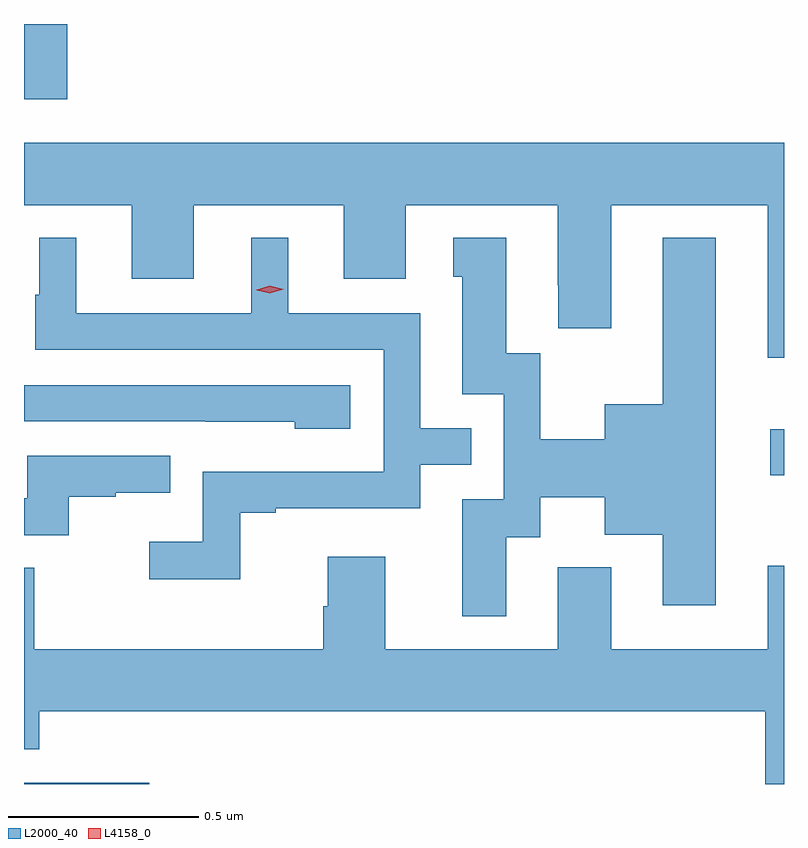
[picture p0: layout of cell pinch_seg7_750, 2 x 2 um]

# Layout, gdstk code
import gdstk
lib = gdstk.Library(unit=1e-6, precision=1e-09)
def R(c, l, rs):  # rectangles x0, y0, x1, y1
    for r in rs: c.add(gdstk.rectangle(r[:2], r[2:], *l))
def P(c, l, *ps):  # polygons
    for p in ps: c.add(gdstk.Polygon(p, *l))
L2000_40 = (2000, 40)
L4158_0 = (4158, 0)

pinch_seg7_750 = lib.new_cell('pinch_seg7_750')
R(pinch_seg7_750, L2000_40, [(316.33,1016.409,316.66,1016.412), (318.294,1017.221,318.33,1017.343), (316.33,1018.211,316.444,1018.409)])
P(pinch_seg7_750, L2000_40, [(318.33,1018.096),(316.33,1018.096),(316.33,1017.932),(316.613,1017.932),(316.613,1017.738),(316.777,1017.738),(316.777,1017.932),(317.171,1017.932),(317.171,1017.738),(317.335,1017.738),(317.335,1017.932),(317.735,1017.932),(317.735,1017.721),(317.736,1017.721),(317.736,1017.609),(317.875,1017.609),(317.875,1017.932),(318.287,1017.932),(318.287,1017.531),(318.33,1017.531)],
  [(317.599,1017.058),(317.689,1017.058),(317.689,1017.164),(317.858,1017.164),(317.858,1017.065),(318.011,1017.065),(318.011,1016.88),(318.151,1016.88),(318.151,1017.847),(318.011,1017.847),(318.011,1017.409),(317.858,1017.409),(317.858,1017.316),(317.688,1017.316),(317.688,1017.543),(317.599,1017.543),(317.599,1017.847),(317.459,1017.847),(317.459,1017.744),(317.483,1017.744),(317.483,1017.435),(317.592,1017.435),(317.592,1017.159),(317.483,1017.159),(317.483,1016.85),(317.599,1016.85)],
  [(316.899,1017.123),(316.993,1017.123),(316.993,1017.135),(317.373,1017.135),(317.373,1017.249),(317.507,1017.249),(317.507,1017.345),(317.373,1017.345),(317.373,1017.648),(317.026,1017.648),(317.026,1017.847),(316.928,1017.847),(316.928,1017.648),(316.468,1017.648),(316.468,1017.847),(316.37,1017.847),(316.37,1017.696),(316.359,1017.696),(316.359,1017.552),(317.277,1017.552),(317.277,1017.231),(316.8,1017.231),(316.8,1017.046),(316.659,1017.046),(316.659,1016.948),(316.899,1016.948)],
  [(317.188,1017.459),(316.33,1017.459),(316.33,1017.363),(316.807,1017.363),(316.807,1017.362),(317.043,1017.362),(317.043,1017.344),(317.188,1017.344)],
  [(316.448,1017.165),(316.571,1017.165),(316.571,1017.176),(316.715,1017.176),(316.715,1017.273),(316.338,1017.273),(316.338,1017.161),(316.33,1017.161),(316.33,1017.063),(316.448,1017.063)],
  [(318.33,1016.983),(318.287,1016.983),(318.287,1016.764),(317.875,1016.764),(317.875,1016.98),(317.735,1016.98),(317.735,1016.764),(317.281,1016.764),(317.281,1017.007),(317.129,1017.007),(317.129,1016.877),(317.117,1016.877),(317.117,1016.764),(316.357,1016.764),(316.357,1016.978),(316.33,1016.978),(316.33,1016.501),(316.37,1016.501),(316.37,1016.6),(318.281,1016.6),(318.281,1016.409),(318.33,1016.409)])
P(pinch_seg7_750, L4158_0, [(316.977,1017.7),(316.942,1017.709),(316.941,1017.71),(316.942,1017.71),(316.977,1017.72),(317.013,1017.711),(317.013,1017.711),(317.013,1017.711)])

lib.write_gds('pinch_seg7_750.gds')
